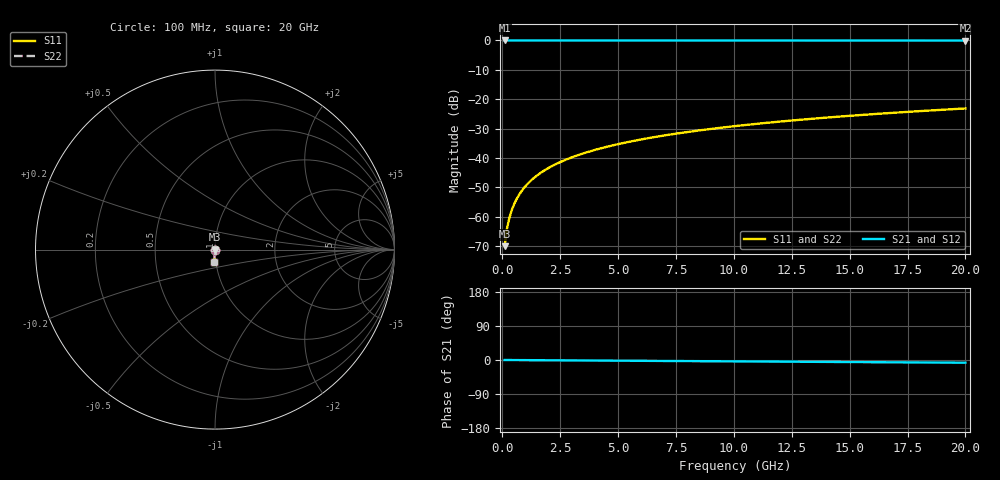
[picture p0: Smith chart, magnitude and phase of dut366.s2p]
! Touchstone file exported from HFSS 2026.1.0
!  File:  C:/ffzhzh/LocalFiles/Ansys_Project_Files/temp_train_TSV_366_1783019441_4048.aedt
!  Generated:  03:12:18 AM Jul  3, 2026
!  Design:  TSV
!  Project:  temp_train_TSV_366_1783019441_4048
! Variables:
!  h_bsmrdl = 2um
!  h_ox = 20um
!  h_rdl = 5um
!  h_sub = 61.86um
!  h_tmrdl = 5um
!  h_tsv = 61.86um
!  h_via = 3um
!  l_bsmrdl = 300um
!  l_sub = 426.64um
!  l_tmrdl = 200um
!  m_sub = 200um
!  pitch = 33.69um
!  r_tsv = 13.32um
!  s_tmrdl = 10um
!  w_bsmrdl = 18um
!  w_sub = 500um
!  w_tmrdl = 12um
!  x_tsv_center1 = 206um
!  x_tsv_center2 = 524um
!  x_tsv_center3 = 736um
!  x_tsv_center4 = 1054um
!  x_tsv_center5 = 1266um
!  x_tsv_center6 = 1584um
# GHz S MA R 50.000000
! Terminal data exported
! Port[1] = TSV1_1_T1
! Port[2] = TSV1_1_T2
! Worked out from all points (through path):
!   200 points, 100 MHz to 20 GHz, reference 50 ohm
!   highest |S21| = 0.00 dB at 100 MHz (marker M1); lowest = 0.0 dB at 20 GHz (marker M2)
!   lowest |S11| = -70.0 dB at 100 MHz (marker M3), VSWR 1.00, Z = 50 - j0.0308 ohm
!   |S11| at or under -10 dB: start of sweep to end of sweep
!   |S22| runs from -70.0 to -23.1 dB; largest |S21 - S12| = 1.2e-15
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0.1  0.0003177 -75.5  0.9999 -0.0  0.9999 -0.0  0.0003177 -75.5
! Gamma 0 0 0 0
! Port Impedance 50 0 50 0
0.2  0.0006264 -81.4  0.9999 -0.1  0.9999 -0.1  0.0006264 -81.4
0.3  0.0009449 -83.1  0.9999 -0.1  0.9999 -0.1  0.0009449 -83.1
0.4  0.001271 -83.9  0.9999 -0.2  0.9999 -0.2  0.001271 -83.9
0.5  0.001605 -84.3  0.9998 -0.2  0.9998 -0.2  0.001605 -84.3
0.7  0.002286 -85.1  0.9998 -0.3  0.9998 -0.3  0.002286 -85.1
0.8  0.002631 -85.4  0.9998 -0.3  0.9998 -0.3  0.002631 -85.4
1  0.003324 -86.0  0.9997 -0.4  0.9997 -0.4  0.003324 -86.0
1.2  0.004019 -86.5  0.9997 -0.4  0.9997 -0.4  0.004019 -86.5
1.4  0.004715 -86.9  0.9997 -0.5  0.9997 -0.5  0.004715 -86.9
1.7  0.005758 -87.4  0.9997 -0.6  0.9997 -0.6  0.005758 -87.4
2  0.006801 -87.8  0.9996 -0.7  0.9996 -0.7  0.006801 -87.8
2.7  0.009233 -88.6  0.9996 -1.0  0.9996 -1.0  0.009233 -88.6
3.5  0.01202 -89.2  0.9995 -1.3  0.9995 -1.3  0.01202 -89.2
4.2  0.01446 -89.6  0.9994 -1.5  0.9994 -1.5  0.01446 -89.6
5  0.01725 -90.1  0.9993 -1.8  0.9993 -1.8  0.01725 -90.1
6.8  0.02356 -90.9  0.9991 -2.5  0.9991 -2.5  0.02356 -90.9
8.3  0.02882 -91.6  0.9989 -3.0  0.9989 -3.0  0.02882 -91.6
10.1  0.03514 -92.4  0.9986 -3.6  0.9986 -3.6  0.03514 -92.4
13.4  0.04671 -93.7  0.998 -4.8  0.998 -4.8  0.04671 -93.7
16.7  0.05826 -95.0  0.9973 -6.0  0.9973 -6.0  0.05826 -95.0
20  0.0698 -96.3  0.9965 -7.2  0.9965 -7.2  0.0698 -96.3
